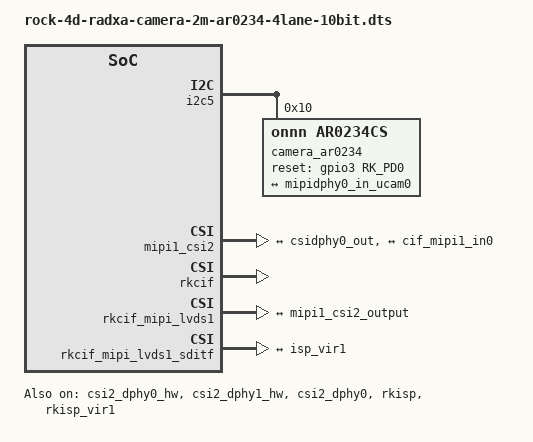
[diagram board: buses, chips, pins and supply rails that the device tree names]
/dts-v1/;
/plugin/;

#include <dt-bindings/gpio/gpio.h>
#include <dt-bindings/pinctrl/rockchip.h>

/ {
	metadata {
		title = "Enable Radxa Camera 2M AR0234 with RAW10 format on 4-lane CSI (31-pin)";
		compatible = "radxa,rock-4d";
		category = "camera";
		exclusive = "GPIO3_D0", "csi2_dphy0", "i2c5";
		description = "Enable Radxa Camera 2M AR0234 with RAW10 format on 4-lane CSI (31-pin)";
	};
};

&i2c5 {
	status = "okay";
	pinctrl-names = "default";
	pinctrl-0 = <&i2c5m3_xfer>;
	#address-cells = <1>;
	#size-cells = <0>;

	camera_ar0234: camera-ar0234@10 {
		status = "okay";
		compatible = "onnn,ar0234cs";
		reg = <0x10>;
		reset-gpios = <&gpio3 RK_PD0 GPIO_ACTIVE_HIGH>;
		rockchip,camera-module-index = <0>;
		rockchip,camera-module-facing = "back";
		rockchip,camera-module-name = "default";
		rockchip,camera-module-lens-name = "default";

		port {
			ar0234_out0: endpoint {
				remote-endpoint = <&mipidphy0_in_ucam0>;
				data-lanes = <1 2 3 4>;
				link-frequencies = /bits/ 64 <450000000>;
			};
		};
	};
};

&csi2_dphy0_hw {
	status = "okay";
};

&csi2_dphy1_hw {
	status = "okay";
};

&csi2_dphy0 {
	status = "okay";

	ports {
		#address-cells = <1>;
		#size-cells = <0>;

		port@0 {
			reg = <0>;
			#address-cells = <1>;
			#size-cells = <0>;

			mipidphy0_in_ucam0: endpoint@1 {
				reg = <1>;
				remote-endpoint = <&ar0234_out0>;
				data-lanes = <1 2 3 4>;
			};
		};

		port@1 {
			reg = <1>;
			#address-cells = <1>;
			#size-cells = <0>;

			csidphy0_out: endpoint@0 {
				reg = <0>;
				remote-endpoint = <&mipi1_csi2_input>;
			};
		};
	};
};

&mipi1_csi2 {
	status = "okay";

	ports {
		#address-cells = <1>;
		#size-cells = <0>;

		port@0 {
			reg = <0>;
			#address-cells = <1>;
			#size-cells = <0>;

			mipi1_csi2_input: endpoint@1 {
				reg = <1>;
				remote-endpoint = <&csidphy0_out>;
			};
		};

		port@1 {
			reg = <1>;
			#address-cells = <1>;
			#size-cells = <0>;

			mipi1_csi2_output: endpoint@0 {
				reg = <0>;
				remote-endpoint = <&cif_mipi1_in0>;
			};
		};
	};
};

&rkcif {
	status = "okay";
};

&rkcif_mmu {
	status = "okay";
};

&rkcif_mipi_lvds1 {
	status = "okay";

	port {
		cif_mipi1_in0: endpoint {
			remote-endpoint = <&mipi1_csi2_output>;
		};
	};
};

&rkcif_mipi_lvds1_sditf {
	status = "okay";

	port {
		mipi_lvds1_sditf: endpoint {
			remote-endpoint = <&isp_vir1>;
		};
	};
};

&rkisp {
	status = "okay";
};

&rkisp_mmu {
	status = "okay";
};

&rkisp_vir1 {
	status = "okay";

	port {
		#address-cells = <1>;
		#size-cells = <0>;

		isp_vir1: endpoint@0 {
			reg = <0>;
			remote-endpoint = <&mipi_lvds1_sditf>;
		};
	};
};
